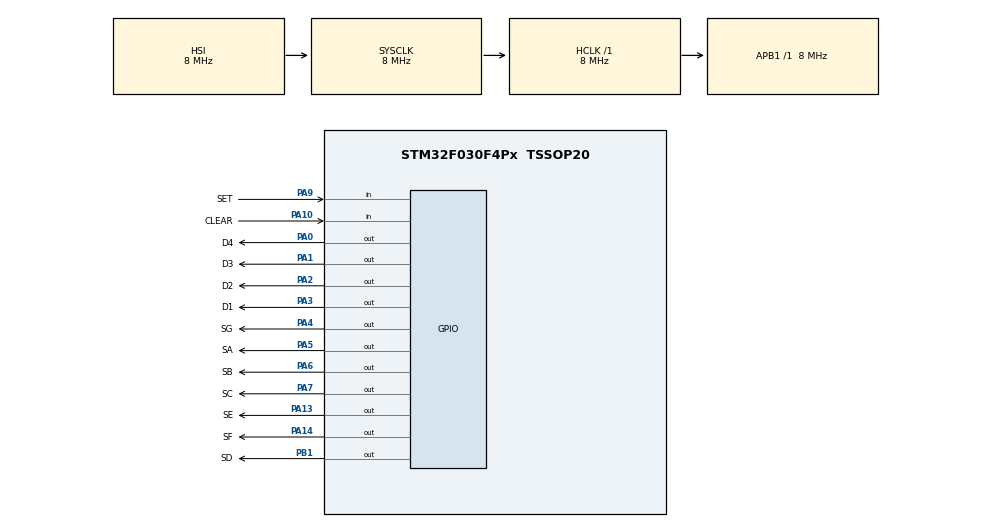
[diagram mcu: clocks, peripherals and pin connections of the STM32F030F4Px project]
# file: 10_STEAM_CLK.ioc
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Mcu.Family=STM32F0
Mcu.Name=STM32F030F4Px
Mcu.Package=TSSOP20
PA0.GPIO_Label=D4
PA0.GPIO_PuPd=GPIO_PULLDOWN
PA0.Signal=GPIO_Output
PA1.GPIO_Label=D3
PA1.GPIO_PuPd=GPIO_PULLDOWN
PA1.Signal=GPIO_Output
PA10.GPIO_Label=CLEAR
PA10.GPIO_Mode=GPIO_MODE_INPUT
PA10.GPIO_PuPd=GPIO_PULLUP
PA10.Signal=GPIO_Input
PA13.GPIO_Label=SE
PA13.GPIO_ModeDefaultOutputPP=GPIO_MODE_OUTPUT_PP
PA13.GPIO_PuPd=GPIO_PULLUP
PA13.Signal=GPIO_Output
PA14.GPIO_Label=SF
PA14.GPIO_ModeDefaultOutputPP=GPIO_MODE_OUTPUT_PP
PA14.GPIO_PuPd=GPIO_PULLUP
PA14.Signal=GPIO_Output
PA2.GPIO_Label=D2
PA2.GPIO_PuPd=GPIO_PULLDOWN
PA2.Signal=GPIO_Output
PA3.GPIO_Label=D1
PA3.GPIO_PuPd=GPIO_PULLDOWN
PA3.Signal=GPIO_Output
PA4.GPIO_Label=SG
PA4.GPIO_PuPd=GPIO_PULLUP
PA4.Signal=GPIO_Output
PA5.GPIO_Label=SA
PA5.GPIO_PuPd=GPIO_PULLUP
PA5.Signal=GPIO_Output
PA6.GPIO_Label=SB
PA6.GPIO_PuPd=GPIO_PULLUP
PA6.Signal=GPIO_Output
PA7.GPIO_Label=SC
PA7.GPIO_PuPd=GPIO_PULLUP
PA7.Signal=GPIO_Output
PA9.GPIO_Label=SET
PA9.GPIO_PuPd=GPIO_PULLUP
PA9.Signal=GPIO_Input
PB1.GPIO_Label=SD
PB1.GPIO_PuPd=GPIO_PULLUP
PB1.Signal=GPIO_Output
PF0-OSC_IN.Mode=HSE-External-Oscillator
PF0-OSC_IN.Signal=RCC_OSC_IN
PF1-OSC_OUT.Mode=HSE-External-Oscillator
PF1-OSC_OUT.Signal=RCC_OSC_OUT
ProjectManager.HeapSize=0x200
ProjectManager.StackSize=0x400
ProjectManager.TargetToolchain=SW4STM32
RCC.AHBFreq_Value=8000000
RCC.APB1Freq_Value=8000000
RCC.APB1TimFreq_Value=8000000
RCC.HCLKFreq_Value=8000000
RCC.HSE_VALUE=7372800
RCC.RTCClockSelection=RCC_RTCCLKSOURCE_HSE_DIV32
RCC.SYSCLKFreq_VALUE=8000000
RTC.Alarm=RTC_ALARM_A
RTC.Format=RTC_FORMAT_BIN
RTC.Hours=0
RTC.Minutes=0
RTC.StoreOperation=RTC_STOREOPERATION_RESET
RTC.SynchPrediv=1799
RTC.Year=1
VP_RTC_VS_RTC_Activate.Mode=RTC_Enabled
VP_RTC_VS_RTC_Alarm_A_Intern.Mode=Alarm A
VP_RTC_VS_RTC_Calendar.Mode=RTC_Calendar
board=custom

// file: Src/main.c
/* USER CODE BEGIN Header */
/**
 ******************************************************************************
 * @file           : main.c

 * @brief          : Main program body
 ******************************************************************************
 ** This notice applies to any and all portions of this file
 * that are not between comment pairs USER CODE BEGIN and
 * USER CODE END. Other portions of this file, whether
 * inserted by the user or by software development tools
 * are owned by their respective copyright owners.
 *
 * COPYRIGHT(c) 2019 STMicroelectronics
 *
 * Redistribution and use in source and binary forms, with or without modification,
 * are permitted provided that the following conditions are met:
 *   1. Redistributions of source code must retain the above copyright notice,
 *      this list of conditions and the following disclaimer.
 *   2. Redistributions in binary form must reproduce the above copyright notice,
 *      this list of conditions and the following disclaimer in the documentation
 *      and/or other materials provided with the distribution.
 *   3. Neither the name of STMicroelectronics nor the names of its contributors
 *      may be used to endorse or promote products derived from this software
 *      without specific prior written permission.
 *
 * THIS SOFTWARE IS PROVIDED BY THE COPYRIGHT HOLDERS AND CONTRIBUTORS "AS IS"
 * AND ANY EXPRESS OR IMPLIED WARRANTIES, INCLUDING, BUT NOT LIMITED TO, THE
 * IMPLIED WARRANTIES OF MERCHANTABILITY AND FITNESS FOR A PARTICULAR PURPOSE ARE
 * DISCLAIMED. IN NO EVENT SHALL THE COPYRIGHT HOLDER OR CONTRIBUTORS BE LIABLE
 * FOR ANY DIRECT, INDIRECT, INCIDENTAL, SPECIAL, EXEMPLARY, OR CONSEQUENTIAL
 * DAMAGES (INCLUDING, BUT NOT LIMITED TO, PROCUREMENT OF SUBSTITUTE GOODS OR
 * SERVICES; LOSS OF USE, DATA, OR PROFITS; OR BUSINESS INTERRUPTION) HOWEVER
 * CAUSED AND ON ANY THEORY OF LIABILITY, WHETHER IN CONTRACT, STRICT LIABILITY,
 * OR TORT (INCLUDING NEGLIGENCE OR OTHERWISE) ARISING IN ANY WAY OUT OF THE USE
 * OF THIS SOFTWARE, EVEN IF ADVISED OF THE POSSIBILITY OF SUCH DAMAGE.
 *
 ******************************************************************************
 */
/*
 * Bart's Steam clock v0.5
 * correct set enter time
 * added git repository
 * 0.4 only ondemand mode
 * 0.5 ondemand mode as option
 */

/* USER CODE END Header */

#include "main.h"

/* USER CODE BEGIN PTD */
RTC_TimeTypeDef gDate;
RTC_TimeTypeDef gTime;

RTC_TimeTypeDef sDate;
RTC_TimeTypeDef sTime;
/* USER CODE END PTD */

/* USER CODE BEGIN PD */

//Common anode display
//segments. dot is not user, so we have 7 segments, from A to G.
//Segments are cathodes, so you can turn it on by pulling to ground.
#define SA_ON HAL_GPIO_WritePin(SA_GPIO_Port, SA_Pin, 0)
#define SB_ON HAL_GPIO_WritePin(SB_GPIO_Port, SB_Pin, 0)
#define SC_ON HAL_GPIO_WritePin(SC_GPIO_Port, SC_Pin, 0)
#define SD_ON HAL_GPIO_WritePin(SD_GPIO_Port, SD_Pin, 0)
#define SE_ON HAL_GPIO_WritePin(SE_GPIO_Port, SE_Pin, 0)
#define SF_ON HAL_GPIO_WritePin(SF_GPIO_Port, SF_Pin, 0)
#define SG_ON HAL_GPIO_WritePin(SG_GPIO_Port, SG_Pin, 0)

#define SA_OFF HAL_GPIO_WritePin(SA_GPIO_Port, SA_Pin, 1)
#define SB_OFF HAL_GPIO_WritePin(SB_GPIO_Port, SB_Pin, 1)
#define SC_OFF HAL_GPIO_WritePin(SC_GPIO_Port, SC_Pin, 1)
#define SD_OFF HAL_GPIO_WritePin(SD_GPIO_Port, SD_Pin, 1)
#define SE_OFF HAL_GPIO_WritePin(SE_GPIO_Port, SE_Pin, 1)
#define SF_OFF HAL_GPIO_WritePin(SF_GPIO_Port, SF_Pin, 1)
#define SG_OFF HAL_GPIO_WritePin(SG_GPIO_Port, SG_Pin, 1)

//digits. We have 4, from 1 to 4. Digits are anodes, so you can turn it on by pulling
//to supply voltage
#define D1_ON HAL_GPIO_WritePin(D1_GPIO_Port, D1_Pin, 1)
#define D2_ON HAL_GPIO_WritePin(D2_GPIO_Port, D2_Pin, 1)
#define D3_ON HAL_GPIO_WritePin(D3_GPIO_Port, D3_Pin, 1)
#define D4_ON HAL_GPIO_WritePin(D4_GPIO_Port, D4_Pin, 1)

#define D1_OFF HAL_GPIO_WritePin(D1_GPIO_Port, D1_Pin, 0)
#define D2_OFF HAL_GPIO_WritePin(D2_GPIO_Port, D2_Pin, 0)
#define D3_OFF HAL_GPIO_WritePin(D3_GPIO_Port, D3_Pin, 0)
#define D4_OFF HAL_GPIO_WritePin(D4_GPIO_Port, D4_Pin, 0)

//turning off
#define D_OFF D1_OFF; D2_OFF; D3_OFF; D4_OFF
#define S_OFF SA_OFF; SB_OFF; SC_OFF; SD_OFF; SE_OFF; SF_OFF; SG_OFF
#define ALL_OFF D_OFF; S_OFF

//display delay
#define WAIT HAL_Delay(1)

//buttons
#define CLEAR HAL_GPIO_ReadPin(CLEAR_GPIO_Port, CLEAR_Pin) == 0
#define SET HAL_GPIO_ReadPin(SET_GPIO_Port, SET_Pin) == 0

/* USER CODE END PD */

RTC_HandleTypeDef hrtc;

/* USER CODE BEGIN PV */
int hours;
int minutes;
int seconds;
int settings = 0; //settings mode
int set_delay = 100;
int active_time = 0;
int mode = 1; //0- force, 1- ondemand
/* USER CODE END PV */

void SystemClock_Config(void);
static void MX_GPIO_Init(void);
static void MX_RTC_Init(void);
/* USER CODE BEGIN PFP */
void display(int position, int number);
void display_twice(int position, int number);
/* USER CODE END PFP */

int main(void)
{

  /* MCU Configuration--------------------------------------------------------*/

  /* Reset of all peripherals, Initializes the Flash interface and the Systick. */
  HAL_Init();

  /* Configure the system clock */
  SystemClock_Config();

  /* Initialize all configured peripherals */
  MX_GPIO_Init();
  MX_RTC_Init();

  /* Infinite loop */
  /* USER CODE BEGIN WHILE */
	while (1) {

	if(SET){

		active_time = 0;
		HAL_Delay(50);

	}

	while(active_time < 10 || mode == 0){
		//___________________SECTION 1 -setting clock

		if (CLEAR) { //clear button enter clock set.
			settings = 1;
			HAL_Delay(300);

		}
		//if set are bigger than 0, you are entering setting mode.
		while (settings >= 1) {

			if (CLEAR) {
				settings++;
				if (settings >= 5) {
					settings = 0;
				}
				HAL_Delay(300);
			}

			//reading from RTC also in settings mode
			HAL_RTC_GetDate(&hrtc, &gDate, RTC_FORMAT_BIN);
			HAL_RTC_GetTime(&hrtc, &gTime, RTC_FORMAT_BIN);
			hours = gTime.Hours;
			minutes = gTime.Minutes;
			seconds = gTime.Seconds;

			//display ony this, what you are setting
			if (settings == 1) {
				display_twice(1, hours);
			} else if (settings == 2) {
				display_twice(3, minutes);
			} else if (settings == 3) {
				display_twice(3, seconds);
			} else if (settings == 4){

				if(mode == 0){

					display(2, 10);

				}else if(mode == 1){

					display(2, 11);
				}
			}

			ALL_OFF
			;

			if (settings == 1) {
				if (SET) {
					hours++;
					if (hours >= 24) {
						hours = 0;

					}

					sTime.Hours = hours;
					sTime.Minutes = minutes;
					sTime.Seconds = seconds;
					HAL_RTC_SetDate(&hrtc, &sDate, RTC_FORMAT_BIN);
					HAL_RTC_SetTime(&hrtc, &sTime, RTC_FORMAT_BIN);
					HAL_Delay(set_delay);

				}
			}

			if (settings == 2) {
				if (SET) {
					minutes++;
					if (minutes >= 60) {
						minutes = 0;

					}

					sTime.Hours = hours;
					sTime.Minutes = minutes;
					sTime.Seconds = seconds;
					HAL_RTC_SetDate(&hrtc, &sDate, RTC_FORMAT_BIN);
					HAL_RTC_SetTime(&hrtc, &sTime, RTC_FORMAT_BIN);
					HAL_Delay(set_delay);

				}
			}

			if (settings == 3) {
				if (SET) {
					seconds = 0;
					sTime.Hours = hours;
					sTime.Minutes = minutes;
					sTime.Seconds = seconds;
					HAL_RTC_SetDate(&hrtc, &sDate, RTC_FORMAT_BIN);
					HAL_RTC_SetTime(&hrtc, &sTime, RTC_FORMAT_BIN);
					HAL_Delay(set_delay);

				}

			}

			if(settings ==4){

				if(SET) {
					if(mode == 0){

						mode = 1;

					}else if(mode == 1){

						mode = 0;

					}
					HAL_Delay(set_delay);
				}
			}
		}

		//___________________SECTION 2 -display clock
		if (SET) {
			display_twice(3, seconds);
			active_time = 0;//reset active time when pressed
		} else {
			display_twice(1, hours);
			display_twice(3, minutes);
		}

		//___________________SECTION 3 -read from RTC

		HAL_RTC_GetDate(&hrtc, &gDate, RTC_FORMAT_BIN);
		HAL_RTC_GetTime(&hrtc, &gTime, RTC_FORMAT_BIN);

		//after each second counter change, add 1 to counter variable
		//except settings mode and seconds check
		if(seconds != gTime.Seconds && settings == 0 && !SET){

			active_time++;

		}

		hours = gTime.Hours;
		minutes = gTime.Minutes;
		seconds = gTime.Seconds;

		//___________________SECTION 4 -exit active mode

	}

    /* USER CODE END WHILE */

	}
}

void SystemClock_Config(void)
{
  RCC_OscInitTypeDef RCC_OscInitStruct = {0};
  RCC_ClkInitTypeDef RCC_ClkInitStruct = {0};
  RCC_PeriphCLKInitTypeDef PeriphClkInit = {0};

  /**Initializes the CPU, AHB and APB busses clocks
  */
  RCC_OscInitStruct.OscillatorType = RCC_OSCILLATORTYPE_HSI|RCC_OSCILLATORTYPE_HSE;
  RCC_OscInitStruct.HSEState = RCC_HSE_ON;
  RCC_OscInitStruct.HSIState = RCC_HSI_ON;
  RCC_OscInitStruct.HSICalibrationValue = RCC_HSICALIBRATION_DEFAULT;
  RCC_OscInitStruct.PLL.PLLState = RCC_PLL_NONE;
  if (HAL_RCC_OscConfig(&RCC_OscInitStruct) != HAL_OK)
  {
    Error_Handler();
  }
  /**Initializes the CPU, AHB and APB busses clocks
  */
  RCC_ClkInitStruct.ClockType = RCC_CLOCKTYPE_HCLK|RCC_CLOCKTYPE_SYSCLK
                              |RCC_CLOCKTYPE_PCLK1;
  RCC_ClkInitStruct.SYSCLKSource = RCC_SYSCLKSOURCE_HSI;
  RCC_ClkInitStruct.AHBCLKDivider = RCC_SYSCLK_DIV1;
  RCC_ClkInitStruct.APB1CLKDivider = RCC_HCLK_DIV1;

  if (HAL_RCC_ClockConfig(&RCC_ClkInitStruct, FLASH_LATENCY_0) != HAL_OK)
  {
    Error_Handler();
  }
  PeriphClkInit.PeriphClockSelection = RCC_PERIPHCLK_RTC;
  PeriphClkInit.RTCClockSelection = RCC_RTCCLKSOURCE_HSE_DIV32;
  if (HAL_RCCEx_PeriphCLKConfig(&PeriphClkInit) != HAL_OK)
  {
    Error_Handler();
  }
}

static void MX_RTC_Init(void)
{

  RTC_TimeTypeDef sTime = {0};
  RTC_DateTypeDef sDate = {0};
  RTC_AlarmTypeDef sAlarm = {0};

  /**Initialize RTC Only
  */
  hrtc.Instance = RTC;
  hrtc.Init.HourFormat = RTC_HOURFORMAT_24;
  hrtc.Init.AsynchPrediv = 127;
  hrtc.Init.SynchPrediv = 1799;
  hrtc.Init.OutPut = RTC_OUTPUT_DISABLE;
  hrtc.Init.OutPutPolarity = RTC_OUTPUT_POLARITY_HIGH;
  hrtc.Init.OutPutType = RTC_OUTPUT_TYPE_OPENDRAIN;
  if (HAL_RTC_Init(&hrtc) != HAL_OK)
  {
    Error_Handler();
  }

  /**Initialize RTC and set the Time and Date
  */
  sTime.Hours = 0;
  sTime.Minutes = 0;
  sTime.Seconds = 0;
  sTime.DayLightSaving = RTC_DAYLIGHTSAVING_NONE;
  sTime.StoreOperation = RTC_STOREOPERATION_RESET;
  if (HAL_RTC_SetTime(&hrtc, &sTime, RTC_FORMAT_BIN) != HAL_OK)
  {
    Error_Handler();
  }
  sDate.WeekDay = RTC_WEEKDAY_MONDAY;
  sDate.Month = RTC_MONTH_JANUARY;
  sDate.Date = 1;
  sDate.Year = 1;

  if (HAL_RTC_SetDate(&hrtc, &sDate, RTC_FORMAT_BIN) != HAL_OK)
  {
    Error_Handler();
  }
  /**Enable the Alarm A
  */
  sAlarm.AlarmTime.Hours = 0;
  sAlarm.AlarmTime.Minutes = 0;
  sAlarm.AlarmTime.Seconds = 0;
  sAlarm.AlarmTime.SubSeconds = 0;
  sAlarm.AlarmTime.DayLightSaving = RTC_DAYLIGHTSAVING_NONE;
  sAlarm.AlarmTime.StoreOperation = RTC_STOREOPERATION_RESET;
  sAlarm.AlarmMask = RTC_ALARMMASK_NONE;
  sAlarm.AlarmSubSecondMask = RTC_ALARMSUBSECONDMASK_ALL;
  sAlarm.AlarmDateWeekDaySel = RTC_ALARMDATEWEEKDAYSEL_DATE;
  sAlarm.AlarmDateWeekDay = 1;
  sAlarm.Alarm = RTC_ALARM_A;
  if (HAL_RTC_SetAlarm(&hrtc, &sAlarm, RTC_FORMAT_BIN) != HAL_OK)
  {
    Error_Handler();
  }

}

static void MX_GPIO_Init(void)
{
  GPIO_InitTypeDef GPIO_InitStruct = {0};

  /* GPIO Ports Clock Enable */
  __HAL_RCC_GPIOF_CLK_ENABLE();
  __HAL_RCC_GPIOA_CLK_ENABLE();
  __HAL_RCC_GPIOB_CLK_ENABLE();

  /*Configure GPIO pin Output Level */
  HAL_GPIO_WritePin(GPIOA, D4_Pin|D3_Pin|D2_Pin|D1_Pin
                          |SG_Pin|SA_Pin|SB_Pin|SC_Pin
                          |SE_Pin|SF_Pin, GPIO_PIN_RESET);

  /*Configure GPIO pin Output Level */
  HAL_GPIO_WritePin(SD_GPIO_Port, SD_Pin, GPIO_PIN_RESET);

  /*Configure GPIO pins : D4_Pin D3_Pin D2_Pin D1_Pin */
  GPIO_InitStruct.Pin = D4_Pin|D3_Pin|D2_Pin|D1_Pin;
  GPIO_InitStruct.Mode = GPIO_MODE_OUTPUT_PP;
  GPIO_InitStruct.Pull = GPIO_PULLDOWN;
  GPIO_InitStruct.Speed = GPIO_SPEED_FREQ_LOW;
  HAL_GPIO_Init(GPIOA, &GPIO_InitStruct);

  /*Configure GPIO pins : SG_Pin SA_Pin SB_Pin SC_Pin
                           SE_Pin SF_Pin */
  GPIO_InitStruct.Pin = SG_Pin|SA_Pin|SB_Pin|SC_Pin
                          |SE_Pin|SF_Pin;
  GPIO_InitStruct.Mode = GPIO_MODE_OUTPUT_PP;
  GPIO_InitStruct.Pull = GPIO_PULLUP;
  GPIO_InitStruct.Speed = GPIO_SPEED_FREQ_LOW;
  HAL_GPIO_Init(GPIOA, &GPIO_InitStruct);

  /*Configure GPIO pin : SD_Pin */
  GPIO_InitStruct.Pin = SD_Pin;
  GPIO_InitStruct.Mode = GPIO_MODE_OUTPUT_PP;
  GPIO_InitStruct.Pull = GPIO_PULLUP;
  GPIO_InitStruct.Speed = GPIO_SPEED_FREQ_LOW;
  HAL_GPIO_Init(SD_GPIO_Port, &GPIO_InitStruct);

  /*Configure GPIO pins : SET_Pin CLEAR_Pin */
  GPIO_InitStruct.Pin = SET_Pin|CLEAR_Pin;
  GPIO_InitStruct.Mode = GPIO_MODE_INPUT;
  GPIO_InitStruct.Pull = GPIO_PULLUP;
  HAL_GPIO_Init(GPIOA, &GPIO_InitStruct);

}

/* USER CODE BEGIN 4 */
void display(int position, int number) {
	ALL_OFF
	;
	int ok = 1;
	switch (position) {
	case 1:
		D1_ON;
		break;
	case 2:
		D2_ON;
		break;
	case 3:
		D3_ON;
		break;
	case 4:
		D4_ON;
		break;
	default:
		ok = 0;		//secure. Dont turn LEDs, if position is different than 1-4
	}
	if (ok == 1) {
		switch (number) {
		case 0:
			SA_ON;
			SB_ON;
			SC_ON;
			SD_ON;
			SE_ON;
			SF_ON;
			break;
		case 1:
			SB_ON;
			SC_ON;
			break;
		case 2:
			SA_ON;
			SB_ON;
			SG_ON;
			SE_ON;
			SD_ON;
			break;
		case 3:
			SA_ON;
			SB_ON;
			SG_ON;
			SC_ON;
			SD_ON;
			break;

		case 4:
			SB_ON;
			SG_ON;
			SF_ON;
			SC_ON;
			break;
		case 5:
			SA_ON;
			SF_ON;
			SG_ON;
			SC_ON;
			SD_ON;
			break;

		case 6:
			SA_ON;
			SF_ON;
			SG_ON;
			SC_ON;
			SE_ON;
			SD_ON;
			break;

		case 7:
			SA_ON;
			SB_ON;
			SC_ON;
			break;

		case 8:
			SA_ON;
			SB_ON;
			SC_ON;
			SD_ON;
			SE_ON;
			SF_ON;
			SG_ON;
			break;

		case 9:
			SA_ON;
			SB_ON;
			SC_ON;
			SD_ON;
			SG_ON;
			SF_ON;
			break;

		case 10://F letter(force mode)
			SA_ON;
			SG_ON;
			SE_ON;
			SF_ON;
			break;

		case 11://O letter(ondemand mode)
			SA_ON;
			SB_ON;
			SC_ON;
			SD_ON;
			SE_ON;
			SF_ON;
			break;

		}
	}
	WAIT;
	ALL_OFF;
}

void display_twice(int position, int number) {
	int first_digit;
	int second_digit;
	ALL_OFF
	;
//brake a number into two digits
	if (number <= 9) {
		first_digit = 0;
		second_digit = number;
	}
	if ((number >= 10) && (number <= 19)) {		//check if number is from range
		first_digit = 1;
		second_digit = number - 10;
	}
	if ((number >= 20) && (number <= 29)) {		//check if number is from range
		first_digit = 2;
		second_digit = number - 20;
	}
	if ((number >= 30) && (number <= 39)) {		//check if number is from range
		first_digit = 3;
		second_digit = number - 30;
	}
	if ((number >= 40) && (number <= 49)) {		//check if number is from range
		first_digit = 4;
		second_digit = number - 40;
	}
	if ((number >= 50) && (number <= 59)) {		//check if number is from range
		first_digit = 5;
		second_digit = number - 50;
	}

	display(position, first_digit);
	display(position + 1, second_digit);

}
/* USER CODE END 4 */

void Error_Handler(void)
{
}

/************************ (C) COPYRIGHT STMicroelectronics *****END OF FILE****/
